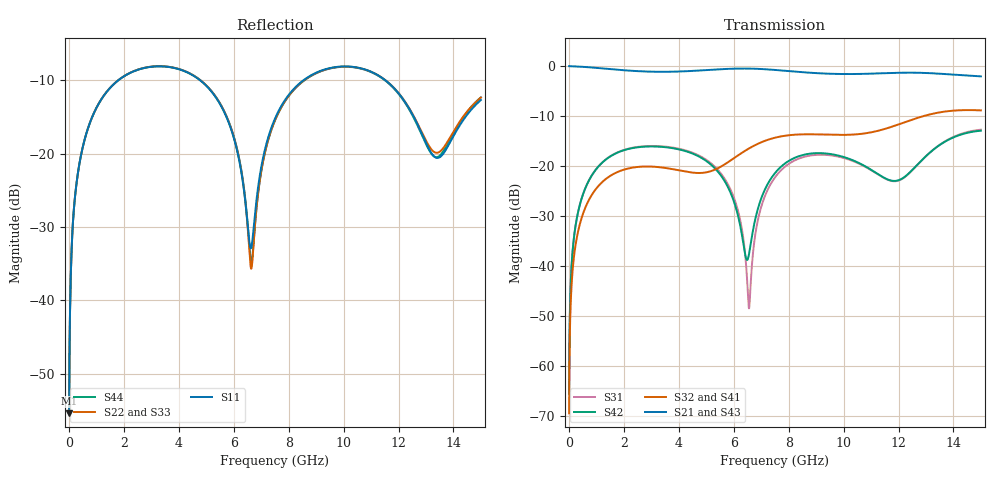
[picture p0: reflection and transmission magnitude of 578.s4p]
! Created with skrf 1.8.0 (http://scikit-rf.org).
# GHz S RI R 50.0
!freq ReS11 ImS11 ReS12 ImS12 ReS13 ImS13
! ReS14 ImS14
! ReS21 ImS21 ReS22 ImS22 ReS23 ImS23
! ReS24 ImS24
! ReS31 ImS31 ReS32 ImS32 ReS33 ImS33
! ReS34 ImS34
! ReS41 ImS41 ReS42 ImS42 ReS43 ImS43
! ReS44 ImS44
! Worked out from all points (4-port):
!   2499 points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, 5 MHz to 15 GHz, reference 50 ohm
!   strongest paths, dB at 5 MHz, 3.476 GHz, 7.19 GHz, 11.1 GHz, 15 GHz:
!     S21: 0.0, -1.1, -0.6, -1.5, -2.1
!     S43: 0.0, -1.1, -0.6, -1.5, -2.1
!     S32: -69.4, -20.3, -14.8, -13.1, -8.8
!     S41: -69.4, -20.3, -14.8, -13.1, -8.8
!     S42: -65.5, -16.2, -24.0, -21.1, -12.9
!     S31: -65.5, -16.1, -25.3, -21.1, -12.7
!   lowest |S11| = -55.4 dB at 5 MHz (marker M1), VSWR 1.00, Z = 50.1 + j0.103 ohm
!   |S11| at or under -10 dB: start of sweep to 1.803 GHz; 4.768 GHz to 8.543 GHz (3.775 GHz wide, 56.7 % of centre); 11.52 GHz to end of sweep
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0.005  0.00135 0.00103  0.9986 -0.00264  6.69e-05 0.000528  -6.51e-05 -0.000332
       0.9986 -0.00264  0.00135 0.00103  -6.51e-05 -0.000332  6.69e-05 0.000529
       6.69e-05 0.000528  -6.51e-05 -0.000332  0.00135 0.00103  0.9986 -0.00264
       -6.51e-05 -0.000332  6.69e-05 0.000529  0.9986 -0.00264  0.00135 0.00103
0.3626511  0.0217 0.0787  0.9702 -0.1902  0.01 0.0366  -0.00828 -0.0228
           0.9702 -0.1902  0.0218 0.0787  -0.00828 -0.0228  0.00986 0.0366
           0.01 0.0366  -0.00828 -0.0228  0.0217 0.0787  0.9702 -0.1903
           -0.00828 -0.0228  0.00986 0.0366  0.9702 -0.1903  0.0218 0.0787
1.875782  0.2688 0.1805  0.5516 -0.7298  0.128 0.0596  -0.0896 -0.00635
          0.5516 -0.7298  0.2696 0.18  -0.0896 -0.00638  0.1256 0.0629
          0.128 0.0596  -0.0896 -0.00638  0.2689 0.1805  0.5516 -0.7298
          -0.0896 -0.00635  0.1256 0.0629  0.5516 -0.7298  0.2697 0.18
6.621509  0.0226 8.58e-05  -0.9413 -0.072  -0.00189 0.00674  -0.00684 0.1537
          -0.9413 -0.072  0.0164 -0.00307  -0.00756 0.1537  0.0144 0.00907
          -0.00189 0.00674  -0.00756 0.1537  0.0212 -0.00102  -0.9413 -0.0721
          -0.00684 0.1537  0.0144 0.00907  -0.9413 -0.0721  0.018 -0.00402
7.665694  0.1182 0.1618  -0.8211 0.3883  0.0702 0.0525  0.1032 0.1677
          -0.8211 0.3883  0.1106 0.1625  0.1025 0.1682  0.0823 0.0484
          0.0702 0.0525  0.1025 0.1682  0.1157 0.1619  -0.8213 0.3884
          0.1032 0.1677  0.0823 0.0484  -0.8213 0.3884  0.1121 0.1604
10.60442  0.3755 -0.0697  0.1274 0.8255  0.0454 -0.0942  0.2001 -0.0621
          0.1274 0.8255  0.376 -0.0636  0.2005 -0.0614  0.046 -0.0956
          0.0454 -0.0942  0.2005 -0.0614  0.3748 -0.0659  0.1285 0.8258
          0.2001 -0.0621  0.046 -0.0956  0.1285 0.8258  0.3739 -0.0679
15  0.2109 0.0957  0.6416 -0.4602  0.2051 0.1074  -0.2642 -0.2493
    0.6416 -0.4602  0.2235 0.0896  -0.2609 -0.2496  0.1983 0.1086
    0.2051 0.1074  -0.2609 -0.2496  0.2207 0.0951  0.6385 -0.4622
    -0.2642 -0.2493  0.1983 0.1086  0.6385 -0.4622  0.2211 0.0965
